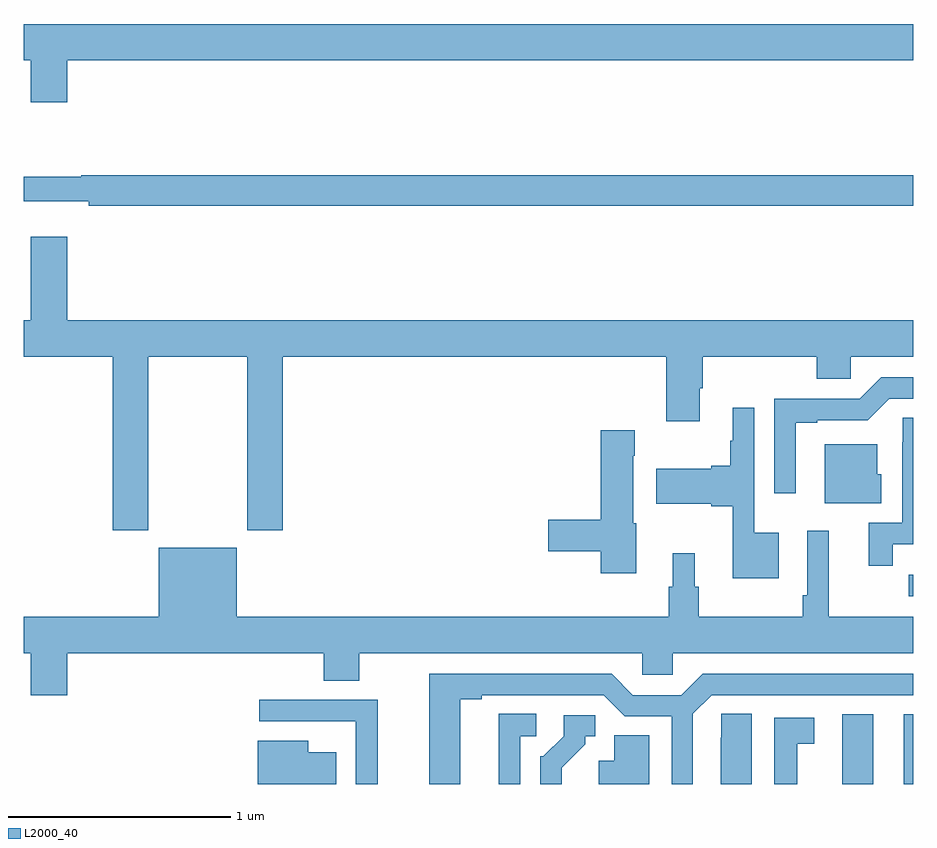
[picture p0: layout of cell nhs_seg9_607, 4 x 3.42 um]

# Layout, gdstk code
import gdstk
lib = gdstk.Library(unit=1e-6, precision=1e-09)
def R(c, l, rs):  # rectangles x0, y0, x1, y1
    for r in rs: c.add(gdstk.rectangle(r[:2], r[2:], *l))
def P(c, l, *ps):  # polygons
    for p in ps: c.add(gdstk.Polygon(p, *l))
L2000_40 = (2000, 40)

nhs_seg9_607 = lib.new_cell('nhs_seg9_607')
R(nhs_seg9_607, L2000_40, [(144.68,1194.5,144.82,1194.814), (144.956,1194.5,145,1194.814), (144.978,1195.344,145,1195.44)])
P(nhs_seg9_607, L2000_40, [(141.196,1197.752),(145,1197.752),(145,1197.916),(141,1197.916),(141,1197.752),(141.032,1197.752),(141.032,1197.564),(141.196,1197.564)],
  [(145,1197.236),(141.26,1197.236),(141.26,1197.229),(141,1197.229),(141,1197.119),(141.292,1197.119),(141.292,1197.1),(145,1197.1)],
  [(141.561,1196.42),(142.006,1196.42),(142.006,1195.641),(142.166,1195.641),(142.166,1196.42),(143.888,1196.42),(143.888,1196.13),(144.04,1196.13),(144.04,1196.278),(144.053,1196.278),(144.053,1196.42),(144.566,1196.42),(144.566,1196.322),(144.717,1196.322),(144.717,1196.42),(145,1196.42),(145,1196.584),(141.196,1196.584),(141.196,1196.959),(141.032,1196.959),(141.032,1196.584),(141,1196.584),(141,1196.42),(141.401,1196.42),(141.401,1195.641),(141.561,1195.641)],
  [(144.472,1196.124),(144.568,1196.124),(144.568,1196.136),(144.795,1196.136),(144.891,1196.232),(145,1196.232),(145,1196.328),(144.855,1196.328),(144.759,1196.232),(144.375,1196.232),(144.375,1195.806),(144.472,1195.806)],
  [(144.394,1195.63),(144.285,1195.63),(144.285,1196.191),(144.188,1196.191),(144.188,1196.042),(144.177,1196.042),(144.177,1195.931),(144.092,1195.931),(144.092,1195.918),(143.844,1195.918),(143.844,1195.76),(144.092,1195.76),(144.092,1195.748),(144.188,1195.748),(144.188,1195.424),(144.394,1195.424)],
  [(144.908,1195.578),(145,1195.578),(145,1196.147),(144.951,1196.147),(144.951,1196.036),(144.95,1196.036),(144.95,1195.674),(144.8,1195.674),(144.8,1195.482),(144.908,1195.482)],
  [(143.754,1195.671),(143.74,1195.671),(143.74,1195.976),(143.748,1195.976),(143.748,1196.089),(143.594,1196.089),(143.594,1195.688),(143.358,1195.688),(143.358,1195.546),(143.594,1195.546),(143.594,1195.448),(143.754,1195.448)],
  [(144.856,1195.893),(144.838,1195.893),(144.838,1196.026),(144.602,1196.026),(144.602,1195.763),(144.856,1195.763)],
  [(141.196,1195.088),(142.349,1195.088),(142.349,1194.964),(142.509,1194.964),(142.509,1195.088),(143.781,1195.088),(143.781,1194.99),(143.919,1194.99),(143.919,1195.088),(145,1195.088),(145,1195.252),(144.62,1195.252),(144.62,1195.639),(144.522,1195.639),(144.522,1195.348),(144.502,1195.348),(144.502,1195.252),(144.035,1195.252),(144.035,1195.386),(144.016,1195.386),(144.016,1195.537),(143.918,1195.537),(143.918,1195.386),(143.899,1195.386),(143.899,1195.252),(141.958,1195.252),(141.958,1195.561),(141.608,1195.561),(141.608,1195.252),(141,1195.252),(141,1195.088),(141.032,1195.088),(141.032,1194.9),(141.196,1194.9)],
  [(142.963,1194.88),(143.059,1194.88),(143.059,1194.9),(143.607,1194.9),(143.703,1194.804),(143.913,1194.804),(143.913,1194.5),(144.009,1194.5),(144.009,1194.816),(144.093,1194.9),(145,1194.9),(145,1194.996),(144.053,1194.996),(143.957,1194.9),(143.739,1194.9),(143.643,1194.996),(142.823,1194.996),(142.823,1194.5),(142.963,1194.5)],
  [(142.593,1194.879),(142.059,1194.879),(142.059,1194.783),(142.493,1194.783),(142.493,1194.782),(142.494,1194.782),(142.494,1194.5),(142.593,1194.5)],
  [(143.232,1194.714),(143.305,1194.714),(143.305,1194.815),(143.135,1194.815),(143.135,1194.5),(143.232,1194.5)],
  [(144.274,1194.815),(144.135,1194.815),(144.135,1194.707),(144.134,1194.707),(144.134,1194.5),(144.274,1194.5)],
  [(143.419,1194.574),(143.524,1194.679),(143.524,1194.714),(143.569,1194.714),(143.569,1194.81),(143.427,1194.81),(143.427,1194.714),(143.337,1194.624),(143.322,1194.624),(143.322,1194.5),(143.419,1194.5)],
  [(144.478,1194.682),(144.553,1194.682),(144.553,1194.798),(144.374,1194.798),(144.374,1194.5),(144.478,1194.5)],
  [(143.812,1194.719),(143.654,1194.719),(143.654,1194.604),(143.585,1194.604),(143.585,1194.5),(143.812,1194.5)],
  [(142.405,1194.643),(142.279,1194.643),(142.279,1194.694),(142.052,1194.694),(142.052,1194.5),(142.405,1194.5)])

lib.write_gds('nhs_seg9_607.gds')
